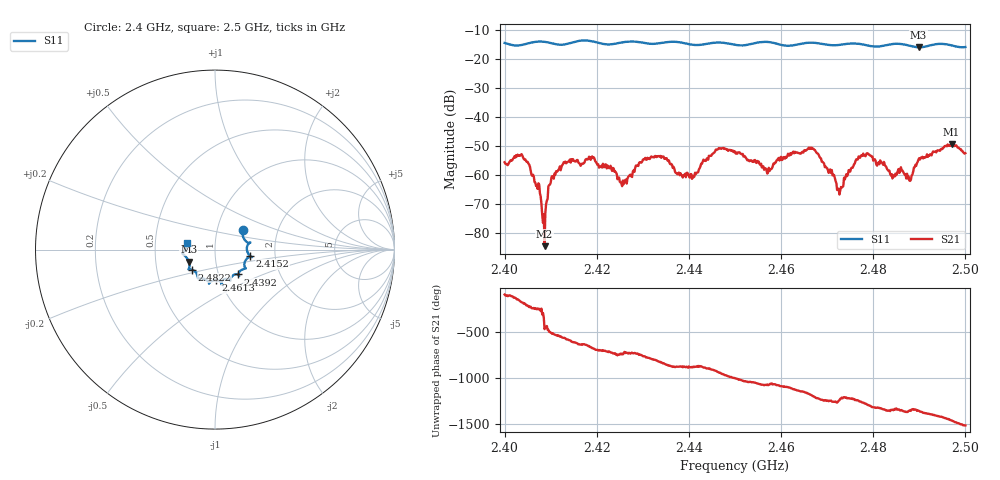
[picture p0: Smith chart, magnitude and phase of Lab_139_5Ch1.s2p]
# Hz S RI R 50
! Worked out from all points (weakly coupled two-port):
!   601 points, 2.4 GHz to 2.5 GHz, reference 50 ohm
!   highest |S21| = -49.42 dB at 2.497 GHz (marker M1); lowest = -84.5 dB at 2.4087 GHz (marker M2)
!   lowest |S11| = -15.9 dB at 2.4898 GHz (marker M3), VSWR 1.38, Z = 37 - j5.04 ohm
!   |S11| at or under -10 dB: start of sweep to end of sweep
!   S12 and S22 are empty: the file has one direction only
!   S11 on the Smith chart (normalised r, x): 2.4 GHz: 1.33, +0.30; 2.4152 GHz: 1.48, -0.11; 2.4392 GHz: 1.23, -0.35; 2.4613 GHz: 0.96, -0.34; 2.4822 GHz: 0.76, -0.17; 2.5 GHz: 0.73, +0.05
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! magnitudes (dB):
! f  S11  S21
! 2.4 GHz  -14.4  -55.6
! 2.4048 GHz  -14.7  -55.5
! 2.4087 GHz  -14.0  -84.5
! 2.4107 GHz  -14.7  -61.2
! 2.4152 GHz  -14.0  -55.2
! 2.4167 GHz  -13.6  -56.3
! 2.419 GHz  -13.8  -53.6
! 2.4255 GHz  -14.2  -63.8
! 2.4333 GHz  -14.6  -53.5
! 2.4392 GHz  -14.5  -59.5
! 2.45 GHz  -15.0  -51.8
! 2.4573 GHz  -14.1  -57.5
! 2.4613 GHz  -15.4  -53.5
! 2.4667 GHz  -14.3  -50.5
! 2.4727 GHz  -15.1  -66.7
! 2.4773 GHz  -14.8  -53.2
! 2.4822 GHz  -15.4  -56.5
! 2.4833 GHz  -15.0  -58.5
! 2.488 GHz  -15.4  -62.0
! 2.4898 GHz  -15.9  -54.6
! 2.497 GHz  -15.2  -49.4
! 2.5 GHz  -15.8  -52.4
